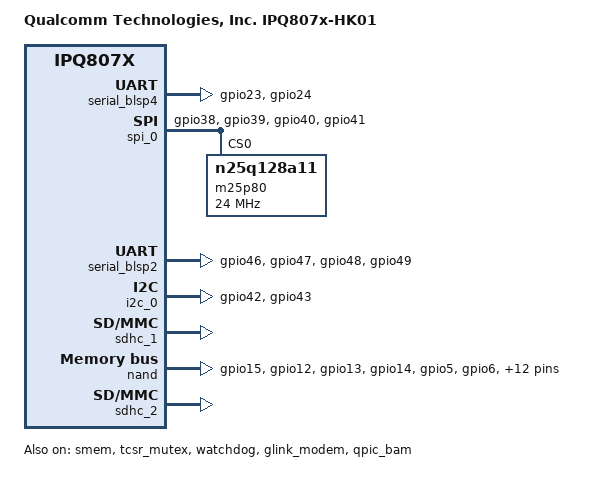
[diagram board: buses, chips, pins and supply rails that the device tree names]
/dts-v1/;
/*
 * Copyright (c) 2017, The Linux Foundation. All rights reserved.
 *
 * Permission to use, copy, modify, and/or distribute this software for any
 * purpose with or without fee is hereby granted, provided that the above
 * copyright notice and this permission notice appear in all copies.
 *
 * THE SOFTWARE IS PROVIDED "AS IS" AND THE AUTHOR DISCLAIMS ALL WARRANTIES
 * WITH REGARD TO THIS SOFTWARE INCLUDING ALL IMPLIED WARRANTIES OF
 * MERCHANTABILITY AND FITNESS. IN NO EVENT SHALL THE AUTHOR BE LIABLE FOR
 * ANY SPECIAL, DIRECT, INDIRECT, OR CONSEQUENTIAL DAMAGES OR ANY DAMAGES
 * WHATSOEVER RESULTING FROM LOSS OF USE, DATA OR PROFITS, WHETHER IN AN
 * ACTION OF CONTRACT, NEGLIGENCE OR OTHER TORTIOUS ACTION, ARISING OUT OF
 * OR IN CONNECTION WITH THE USE OR PERFORMANCE OF THIS SOFTWARE.
 */
#include "qcom-ipq807x-soc.dtsi"
#include "qcom-ipq807x-spmi-regulator.dtsi"

/ {
	#address-cells = <0x2>;
	#size-cells = <0x2>;
	model = "Qualcomm Technologies, Inc. IPQ807x-HK01";
	compatible = "qcom,ipq807x-hk01", "qcom,ipq807x";
	qcom,msm-id = <0x125 0x0>;
	interrupt-parent = <&intc>;
	qcom,board-id = <0x10 0x0>;

	aliases {
		sdhc1 = &sdhc_1; /* SDC1 eMMC slot */
		sdhc2 = &sdhc_2; /* SDC2 SD slot */
	};

	chosen {
		bootargs = "console=ttyMSM0,115200,n8 root=/dev/ram0 rw init=/init";
		bootargs-append = " clk_ignore_unused";
	};
};

&CPU0 {
	operating-points-v2 = <&cpu0_opp_table>;
	voltage-tolerance = <1>;
	cpu0-supply = <&s3>;
};

&CPU1 {
	operating-points-v2 = <&cpu0_opp_table>;
	voltage-tolerance = <1>;
	cpu-supply = <&s3>;
};

&CPU2 {
	operating-points-v2 = <&cpu0_opp_table>;
	voltage-tolerance = <1>;
	cpu-supply = <&s3>;
};

&CPU3 {
	operating-points-v2 = <&cpu0_opp_table>;
	voltage-tolerance = <1>;
	cpu-supply = <&s3>;
};

&cpus {
	cpu0_opp_table: opp_table0 {
		compatible = "operating-points-v2";
		opp-shared;

		opp00 {
			opp-hz = /bits/ 64 <1689600000>;
			opp-microvolt = <864000>;
			clock-latency-ns = <200000>;
		};
	};
};

&tlmm {
	uart_pins: uart_pins {
		mux {
			pins = "gpio23", "gpio24";
			function = "blsp4_uart1";
			bias-disable;
		};
	};

	i2c_0_pins: i2c_0_pinmux {
		mux {
			pins = "gpio42", "gpio43";
			function = "blsp1_i2c";
			bias-disable;
		};
	};

	spi_0_pins: spi_0_pins {
		mux {
			pins = "gpio38", "gpio39", "gpio40", "gpio41";
			function = "blsp0_spi";
			bias-disable;
		};
	};

	qpic_pins: qpic_pins {
		data_0 {
			pins = "gpio15";
			function = "qpic_pad0";
			bias-disable;
		};
		data_1 {
			pins = "gpio12";
			function = "qpic_pad1";
			bias-disable;
		};
		data_2 {
			pins = "gpio13";
			function = "qpic_pad2";
			bias-disable;
		};
		data_3 {
			pins = "gpio14";
			function = "qpic_pad3";
			bias-disable;
		};
		data_4 {
			pins = "gpio5";
			function = "qpic_pad4";
			bias-disable;
		};
		data_5 {
			pins = "gpio6";
			function = "qpic_pad5";
			bias-disable;
		};
		data_6 {
			pins = "gpio7";
			function = "qpic_pad6";
			bias-disable;
		};
		data_7 {
			pins = "gpio8";
			function = "qpic_pad7";
			bias-disable;
		};
		data_8 {
			pins = "gpio16";
			function = "qpic_pad8";
			bias-disable;
		};
		qpic_pad {
			pins = "gpio0", "gpio1", "gpio2", "gpio3", "gpio4",
			       "gpio9", "gpio10", "gpio11", "gpio17";
			function = "qpic_pad";
			bias-disable;
		};
	};

	hsuart_pins: hsuart_pins {
		mux {
			pins = "gpio46", "gpio47", "gpio48", "gpio49";
			function = "blsp2_uart";
			bias-disable;
		};
	};
};

&soc {
	ess-switch@3a000000 {
		compatible = "qcom,ess-switch";
		status = "disabled";
	};
};


&apss_clk {
	status = "ok";
};

&blsp_dma {
	status = "ok";
};

&serial_blsp4 {
       pinctrl-0 = <&uart_pins>;
       pinctrl-names = "default";
       status = "ok";
};

&spi_0 { /* BLSP1 QUP1 */
	pinctrl-0 = <&spi_0_pins>;
	pinctrl-names = "default";
	status = "ok";

	m25p80@0 {
		#address-cells = <1>;
		#size-cells = <1>;
		reg = <0>;
		compatible = "n25q128a11";
		linux,modalias = "m25p80", "n25q128a11";
		spi-max-frequency = <24000000>;
		use-default-sizes;
	};
};

&serial_blsp2 {
	pinctrl-0 = <&hsuart_pins>;
	pinctrl-names = "default";
	status = "ok";
};

&q6v5_wcss {
	qca,emulation = <1>;
	status = "disabled";
};

&apcs {
	status = "disabled";
};

&wcss {
	status = "disabled";
};

&smem {
	status = "ok";
};

&tcsr_mutex_block {
	status = "disabled";
};

&tcsr_mutex {
	status = "ok";
};

&nss_crypto {
	status = "disabled";
};

&watchdog {
	status = "ok";
};

&glink_mpss_ssr {
	status = "disabled";
};

&glink_modem {
	status = "ok";
};

&ipc_router {
	status = "ok";
};

&ipc_router_modem {
	status = "ok";
};

&msm_imem {
	status = "disabled";
};

&cryptobam {
	status = "disabled";
};

&crypto {
	status = "disabled";
};

&i2c_0 {
	pinctrl-0 = <&i2c_0_pins>;
	pinctrl-names = "default";
	status = "ok";
};

&i2c_1 {
	status = "disabled";
};

&sdhc_1 {
	qcom,clk-rates = <400000 25000000 50000000 100000000 \
			 192000000 384000000>;
	qcom,bus-speed-mode = "HS200_1p8v", "DDR_1p8v";
	qcom,nonremovable;
	status = "ok";
};

&qpic_bam {
	status = "ok";
};

&nand {
	pinctrl-0 = <&qpic_pins>;
	pinctrl-names = "default";
	status = "ok";
};

&sdhc_2 {
	qcom,clk-rates = <400000 25000000 50000000 100000000 \
			 192000000 384000000>;
	qcom,bus-speed-mode = "HS200_1p8v", "DDR_1p8v";
	status = "ok";
};
